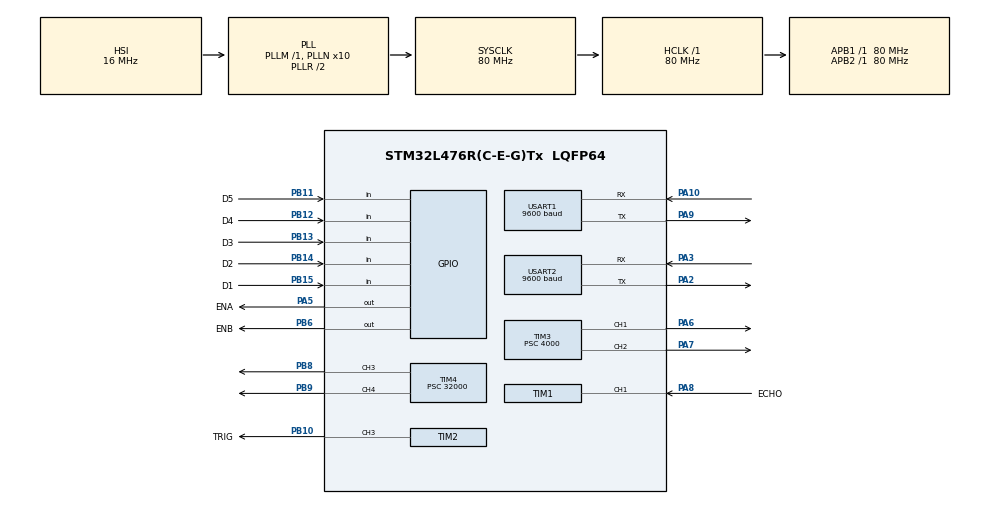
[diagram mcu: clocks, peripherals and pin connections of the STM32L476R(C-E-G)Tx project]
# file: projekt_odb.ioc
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Mcu.Family=STM32L4
Mcu.Name=STM32L476R(C-E-G)Tx
Mcu.Package=LQFP64
NVIC.PriorityGroup=NVIC_PRIORITYGROUP_4
NVIC.TIM1_CC_IRQn=true\:0\:0\:false\:false\:true\:true\:true\:true
PA10.Mode=Asynchronous
PA10.Signal=USART1_RX
PA2.Mode=Asynchronous
PA2.Signal=USART2_TX
PA3.Mode=Asynchronous
PA3.Signal=USART2_RX
PA5.GPIO_Label=ENA
PA5.Signal=GPIO_Output
PA6.Signal=S_TIM3_CH1
PA7.Signal=S_TIM3_CH2
PA8.GPIO_Label=ECHO
PA8.Signal=S_TIM1_CH1
PA9.Mode=Asynchronous
PA9.Signal=USART1_TX
PB10.GPIO_Label=TRIG
PB10.Signal=S_TIM2_CH3
PB11.GPIO_Label=D5
PB11.Signal=GPIO_Input
PB12.GPIO_Label=D4
PB12.Signal=GPIO_Input
PB13.GPIO_Label=D3
PB13.Signal=GPIO_Input
PB14.GPIO_Label=D2
PB14.Signal=GPIO_Input
PB15.GPIO_Label=D1
PB15.Signal=GPIO_Input
PB6.GPIO_Label=ENB
PB6.Signal=GPIO_Output
PB8.Signal=S_TIM4_CH3
PB9.Signal=S_TIM4_CH4
ProjectManager.HeapSize=0x200
ProjectManager.StackSize=0x400
ProjectManager.TargetToolchain=STM32CubeIDE
RCC.ADCFreq_Value=64000000
RCC.AHBFreq_Value=80000000
RCC.APB1Freq_Value=80000000
RCC.APB1TimFreq_Value=80000000
RCC.APB2Freq_Value=80000000
RCC.APB2TimFreq_Value=80000000
RCC.CortexFreq_Value=80000000
RCC.HCLKFreq_Value=80000000
RCC.HSE_VALUE=8000000
RCC.HSI_VALUE=16000000
RCC.LSE_VALUE=32768
RCC.MSI_VALUE=4000000
RCC.PLLN=10
RCC.PLLSourceVirtual=RCC_PLLSOURCE_HSI
RCC.SYSCLKFreq_VALUE=80000000
RCC.SYSCLKSource=RCC_SYSCLKSOURCE_PLLCLK
RCC.USBFreq_Value=64000000
RCC.VCOOutputFreq_Value=160000000
SH.S_TIM1_CH1.0=TIM1_CH1,PWM_Input_1
SH.S_TIM2_CH3.0=TIM2_CH3,PWM Generation3 CH3
SH.S_TIM3_CH1.0=TIM3_CH1,PWM Generation1 CH1
SH.S_TIM3_CH2.0=TIM3_CH2,PWM Generation2 CH2
SH.S_TIM4_CH3.0=TIM4_CH3,PWM Generation3 CH3
SH.S_TIM4_CH4.0=TIM4_CH4,PWM Generation4 CH4
TIM1.Prescaler=79
TIM2.Channel-PWM\ Generation3\ CH3=TIM_CHANNEL_3
TIM2.Period=62499
TIM2.Prescaler=79
TIM3.Channel-PWM\ Generation1\ CH1=TIM_CHANNEL_1
TIM3.Channel-PWM\ Generation2\ CH2=TIM_CHANNEL_2
TIM3.Period=499
TIM3.Prescaler=4000
TIM4.Channel-PWM\ Generation3\ CH3=TIM_CHANNEL_3
TIM4.Channel-PWM\ Generation4\ CH4=TIM_CHANNEL_4
TIM4.Period=10
TIM4.Prescaler=32000
USART1.BaudRate=9600
USART1.VirtualMode-Asynchronous=VM_ASYNC
USART2.BaudRate=9600
USART2.VirtualMode-Asynchronous=VM_ASYNC
VP_TIM1_VS_ClockSourceINT.Mode=Internal
VP_TIM3_VS_ClockSourceINT.Mode=Internal
VP_TIM4_VS_ClockSourceINT.Mode=Internal
board=custom

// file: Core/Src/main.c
/* USER CODE BEGIN Header */
/**
  ******************************************************************************
  * @file           : main.c
  * @brief          : Main program body
  ******************************************************************************
  * @attention
  *
  * Copyright (c) 2024 STMicroelectronics.
  * All rights reserved.
  *
  * This software is licensed under terms that can be found in the LICENSE file
  * in the root directory of this software component.
  * If no LICENSE file comes with this software, it is provided AS-IS.
  *
  ******************************************************************************
  */
/* USER CODE END Header */
#include "main.h"
#include "tim.h"

UART_HandleTypeDef huart1;
UART_HandleTypeDef huart2;

uint16_t silniki[4] = {0};

/* USER CODE BEGIN PV */
struct us_sensor_str distance_sensor;
/* USER CODE END PV */

void SystemClock_Config(void);
static void MX_GPIO_Init(void);
static void MX_USART1_UART_Init(void);
static void MX_USART2_UART_Init(void);

int main(void)
{

  /* MCU Configuration--------------------------------------------------------*/

  /* Reset of all peripherals, Initializes the Flash interface and the Systick. */
  HAL_Init();

  /* Configure the system clock */
  SystemClock_Config();

  /* Initialize all configured peripherals */
  MX_GPIO_Init();
  MX_TIM1_Init();
  MX_TIM2_Init();
  MX_TIM3_Init();
  MX_TIM4_Init();
  MX_USART1_UART_Init();
  MX_USART2_UART_Init();
  /* USER CODE BEGIN 2 */
  hc_sr04_init(&distance_sensor, &htim1, &htim2, TIM_CHANNEL_3);

  HAL_TIM_PWM_Start(&htim3, TIM_CHANNEL_1);
      HAL_TIM_PWM_Start(&htim3, TIM_CHANNEL_2);
      HAL_TIM_PWM_Start(&htim4, TIM_CHANNEL_3);
      HAL_TIM_PWM_Start(&htim4, TIM_CHANNEL_4);

      __HAL_TIM_SetCompare(&htim3, TIM_CHANNEL_1, 0);
      __HAL_TIM_SetCompare(&htim3, TIM_CHANNEL_2, 0);
      __HAL_TIM_SetCompare(&htim4, TIM_CHANNEL_3, 0);
      __HAL_TIM_SetCompare(&htim4, TIM_CHANNEL_4, 0);

      HAL_GPIO_WritePin(ENA_GPIO_Port, ENA_Pin, GPIO_PIN_SET);
      HAL_GPIO_WritePin(ENB_GPIO_Port, ENB_Pin, GPIO_PIN_SET);
  /* USER CODE END 2 */

  /* Infinite loop */
  /* USER CODE BEGIN WHILE */
      uint8_t stan_init[5] = {0};
      uint8_t stan[5] = {0};
      char message[100] = {0};
      uint8_t D1, D2, D3, D4, D5 = 0;
      	  wyjscie:
      	 stan_init[0] = 0;
      	 stan[0] = 0;
      	 // Odczyt trybu pracy	b -- bluetooth, l -- Jazda po linii, o -- czujnik odbiciowy
      	 while(stan_init[0] != 'b' && stan_init[0] != 'l' && stan_init[0] != 'o') {
      		HAL_UART_Receive(&huart1, stan_init, 5, 100);
      	 }
            while (1) {
			// Ustawienie czujników listwy z czujnikami odbiciowymi
            D1 = HAL_GPIO_ReadPin(D1_GPIO_Port, D1_Pin);
            D2 = HAL_GPIO_ReadPin(D2_GPIO_Port, D2_Pin);
            D3 = HAL_GPIO_ReadPin(D3_GPIO_Port, D3_Pin);
            D4 = HAL_GPIO_ReadPin(D4_GPIO_Port, D4_Pin);
            D5 = HAL_GPIO_ReadPin(D5_GPIO_Port, D5_Pin);

            //Ustawienie sterowania pojazdem na bluetooth
            if (stan_init[0] == 'b') {
            	 HAL_UART_Receive(&huart1, stan, 5, 0);
            	 // Jazda do przodu
            	if (stan[0]=='w') {
					__HAL_TIM_SetCompare(&htim3, TIM_CHANNEL_1, 0);
					__HAL_TIM_SetCompare(&htim3, TIM_CHANNEL_2, 500);
					__HAL_TIM_SetCompare(&htim4, TIM_CHANNEL_3, 0);
					__HAL_TIM_SetCompare(&htim4, TIM_CHANNEL_4, 500);
				}
            	// Jazda do tyłu
				if (stan[0]=='s') {
					__HAL_TIM_SetCompare(&htim3, TIM_CHANNEL_1, 500);
					__HAL_TIM_SetCompare(&htim3, TIM_CHANNEL_2, 0);
					__HAL_TIM_SetCompare(&htim4, TIM_CHANNEL_3, 500);
					__HAL_TIM_SetCompare(&htim4, TIM_CHANNEL_4, 0);
				}
				// Skręt w lewo
				if (stan[0]=='a') {
					__HAL_TIM_SetCompare(&htim3, TIM_CHANNEL_1, 0);
					__HAL_TIM_SetCompare(&htim3, TIM_CHANNEL_2, 0);
					__HAL_TIM_SetCompare(&htim4, TIM_CHANNEL_3, 0);
					__HAL_TIM_SetCompare(&htim4, TIM_CHANNEL_4, 500);
				}
				// Skręt w prawo
				if (stan[0]=='d') {
					__HAL_TIM_SetCompare(&htim3, TIM_CHANNEL_1, 0);
					__HAL_TIM_SetCompare(&htim3, TIM_CHANNEL_2, 500);
					__HAL_TIM_SetCompare(&htim4, TIM_CHANNEL_3, 0);
					__HAL_TIM_SetCompare(&htim4, TIM_CHANNEL_4, 0);
				}
				// Zatrzymaj się
				if (stan[0]=='x') {
					__HAL_TIM_SetCompare(&htim3, TIM_CHANNEL_1, 0);
					__HAL_TIM_SetCompare(&htim3, TIM_CHANNEL_2, 0);
					__HAL_TIM_SetCompare(&htim4, TIM_CHANNEL_3, 0);
					__HAL_TIM_SetCompare(&htim4, TIM_CHANNEL_4, 0);
				}
				// Wyjście z trybu
				if (stan[0]=='e') {
					__HAL_TIM_SetCompare(&htim3, TIM_CHANNEL_1, 0);
					__HAL_TIM_SetCompare(&htim3, TIM_CHANNEL_2, 0);
					__HAL_TIM_SetCompare(&htim4, TIM_CHANNEL_3, 0);
					__HAL_TIM_SetCompare(&htim4, TIM_CHANNEL_4, 0);
					goto wyjscie;
				}
            }

            //Ustawienie sterowania pojazdem z czujnikiem odbiciowym
            	if (stan_init[0]=='o'){
            		HAL_UART_Receive(&huart1, stan, 5, 0);
            		if (stan[0]=='e') {
            			__HAL_TIM_SetCompare(&htim3, TIM_CHANNEL_1, 0);
						__HAL_TIM_SetCompare(&htim3, TIM_CHANNEL_2, 0);
						__HAL_TIM_SetCompare(&htim4, TIM_CHANNEL_3, 0);
						__HAL_TIM_SetCompare(&htim4, TIM_CHANNEL_4, 0);
						goto wyjscie;
					}
            		if(distance_sensor.distance_cm<=10){
            			// Gdy dystans do przeszkoday mniejszy niż 10 cm to pojazd cofa
						__HAL_TIM_SetCompare(&htim3, TIM_CHANNEL_1, 400);
						__HAL_TIM_SetCompare(&htim3, TIM_CHANNEL_2, 0);
						__HAL_TIM_SetCompare(&htim4, TIM_CHANNEL_3, 400);
						__HAL_TIM_SetCompare(&htim4, TIM_CHANNEL_4, 0);
					} else if(distance_sensor.distance_cm<=40){
						// Gdy dystans do przeszkoday mniejszy niż 40 cm to pojazd skęreca w lewo
            			__HAL_TIM_SetCompare(&htim3, TIM_CHANNEL_1, 0);
            			__HAL_TIM_SetCompare(&htim3, TIM_CHANNEL_2, 0);
            			__HAL_TIM_SetCompare(&htim4, TIM_CHANNEL_3, 0);
            			__HAL_TIM_SetCompare(&htim4, TIM_CHANNEL_4, 400);
            		} else if(distance_sensor.distance_cm<=70){
            			// Gdy dystans do przeszkoday mniejszy niż 70 cm to pojazd delikatnie skręca w lewo
						__HAL_TIM_SetCompare(&htim3, TIM_CHANNEL_1, 0);
						__HAL_TIM_SetCompare(&htim3, TIM_CHANNEL_2, 300);
						__HAL_TIM_SetCompare(&htim4, TIM_CHANNEL_3, 0);
						__HAL_TIM_SetCompare(&htim4, TIM_CHANNEL_4, 400);
					}  else {
						// Jazda do przodu gdy inne warunki nie sa spełnione
            			__HAL_TIM_SetCompare(&htim3, TIM_CHANNEL_1, 0);
            			__HAL_TIM_SetCompare(&htim3, TIM_CHANNEL_2, 400);
            			__HAL_TIM_SetCompare(&htim4, TIM_CHANNEL_3, 0);
            			__HAL_TIM_SetCompare(&htim4, TIM_CHANNEL_4, 400);
            		}

            	}
            	//Ustawienie sterowania pojazdem po linii
            	if(stan_init[0]=='l') {
            		HAL_UART_Receive(&huart1, stan, 5, 0);
            		if (stan[0]=='e') {\
            			__HAL_TIM_SetCompare(&htim3, TIM_CHANNEL_1, 0);
						__HAL_TIM_SetCompare(&htim3, TIM_CHANNEL_2, 0);
						__HAL_TIM_SetCompare(&htim4, TIM_CHANNEL_3, 0);
						__HAL_TIM_SetCompare(&htim4, TIM_CHANNEL_4, 0);
						goto wyjscie;
					}
					D1 = HAL_GPIO_ReadPin(D1_GPIO_Port, D1_Pin);
					D2 = HAL_GPIO_ReadPin(D2_GPIO_Port, D2_Pin);
					D3 = HAL_GPIO_ReadPin(D3_GPIO_Port, D3_Pin);
					D4 = HAL_GPIO_ReadPin(D4_GPIO_Port, D4_Pin);
					D5 = HAL_GPIO_ReadPin(D5_GPIO_Port, D5_Pin);

            /*snprintf(message, sizeof(message), " %d %d %d %d %d", D1, D2, D3, D4, D5);
                        HAL_UART_Transmit(&huart2, message, 100, 100);
                      	HAL_UART_Transmit(&huart1, message, 100, 100);*/
			  if (D2==1 && D3==1 && D4==1 || D2==1 && D3==1 || D3 == 1 && D4==1 || D3 == 1) {
				__HAL_TIM_SetCompare(&htim4, TIM_CHANNEL_3, 0);
				__HAL_TIM_SetCompare(&htim4, TIM_CHANNEL_4, 500);
				__HAL_TIM_SetCompare(&htim3, TIM_CHANNEL_1, 0);
				__HAL_TIM_SetCompare(&htim3, TIM_CHANNEL_2, 500);
				silniki[0] = 0;
				silniki[1] = 500;
				silniki[2] = 0;
				silniki[3] = 500;
			  }
			  else if (D1==1 && D2==1 && D3==1 && D4 == 1 || D1==1 && D2==1 && D3==1 || D1==1 && D2==1 || D1 == 1) {
				__HAL_TIM_SetCompare(&htim4, TIM_CHANNEL_3, 0);
				__HAL_TIM_SetCompare(&htim4, TIM_CHANNEL_4, 500);
				__HAL_TIM_SetCompare(&htim3, TIM_CHANNEL_1, 0);
				__HAL_TIM_SetCompare(&htim3, TIM_CHANNEL_2, 0);
				silniki[0] = 0;
				silniki[1] = 500;
				silniki[2] = 0;
				silniki[3] = 0;
			  }
			  else if (D2==1 && D3==1 && D4==1 && D5==1 || D3==1 && D4==1 && D5==1 || D4==1 && D5==1 || D5 == 1) {
				__HAL_TIM_SetCompare(&htim4, TIM_CHANNEL_3, 0);
				__HAL_TIM_SetCompare(&htim4, TIM_CHANNEL_4, 0);
				__HAL_TIM_SetCompare(&htim3, TIM_CHANNEL_1, 0);
				__HAL_TIM_SetCompare(&htim3, TIM_CHANNEL_2, 500);
				silniki[0] = 0;
				silniki[1] = 0;
				silniki[2] = 0;
				silniki[3] = 500;
			  }
			  else {
				__HAL_TIM_SetCompare(&htim4, TIM_CHANNEL_3, silniki[0]);
				__HAL_TIM_SetCompare(&htim4, TIM_CHANNEL_4, silniki[1]);
				__HAL_TIM_SetCompare(&htim3, TIM_CHANNEL_1, silniki[2]);
				__HAL_TIM_SetCompare(&htim3, TIM_CHANNEL_2, silniki[3]);
			  }

}

}

  /* USER CODE END 3 */
}

void SystemClock_Config(void)
{
  RCC_OscInitTypeDef RCC_OscInitStruct = {0};
  RCC_ClkInitTypeDef RCC_ClkInitStruct = {0};

  /** Configure the main internal regulator output voltage
  */
  if (HAL_PWREx_ControlVoltageScaling(PWR_REGULATOR_VOLTAGE_SCALE1) != HAL_OK)
  {
    Error_Handler();
  }

  /** Initializes the RCC Oscillators according to the specified parameters
  * in the RCC_OscInitTypeDef structure.
  */
  RCC_OscInitStruct.OscillatorType = RCC_OSCILLATORTYPE_HSI;
  RCC_OscInitStruct.HSIState = RCC_HSI_ON;
  RCC_OscInitStruct.HSICalibrationValue = RCC_HSICALIBRATION_DEFAULT;
  RCC_OscInitStruct.PLL.PLLState = RCC_PLL_ON;
  RCC_OscInitStruct.PLL.PLLSource = RCC_PLLSOURCE_HSI;
  RCC_OscInitStruct.PLL.PLLM = 1;
  RCC_OscInitStruct.PLL.PLLN = 10;
  RCC_OscInitStruct.PLL.PLLP = RCC_PLLP_DIV7;
  RCC_OscInitStruct.PLL.PLLQ = RCC_PLLQ_DIV2;
  RCC_OscInitStruct.PLL.PLLR = RCC_PLLR_DIV2;
  if (HAL_RCC_OscConfig(&RCC_OscInitStruct) != HAL_OK)
  {
    Error_Handler();
  }

  /** Initializes the CPU, AHB and APB buses clocks
  */
  RCC_ClkInitStruct.ClockType = RCC_CLOCKTYPE_HCLK|RCC_CLOCKTYPE_SYSCLK
                              |RCC_CLOCKTYPE_PCLK1|RCC_CLOCKTYPE_PCLK2;
  RCC_ClkInitStruct.SYSCLKSource = RCC_SYSCLKSOURCE_PLLCLK;
  RCC_ClkInitStruct.AHBCLKDivider = RCC_SYSCLK_DIV1;
  RCC_ClkInitStruct.APB1CLKDivider = RCC_HCLK_DIV1;
  RCC_ClkInitStruct.APB2CLKDivider = RCC_HCLK_DIV1;

  if (HAL_RCC_ClockConfig(&RCC_ClkInitStruct, FLASH_LATENCY_4) != HAL_OK)
  {
    Error_Handler();
  }
}

static void MX_GPIO_Init(void)
{
  GPIO_InitTypeDef GPIO_InitStruct = {0};

  /* GPIO Ports Clock Enable */
  __HAL_RCC_GPIOA_CLK_ENABLE();
  __HAL_RCC_GPIOB_CLK_ENABLE();

  /*Configure GPIO pin Output Level */
  HAL_GPIO_WritePin(ENA_GPIO_Port, ENA_Pin, GPIO_PIN_RESET);

  /*Configure GPIO pin Output Level */
  HAL_GPIO_WritePin(ENB_GPIO_Port, ENB_Pin, GPIO_PIN_RESET);

  /*Configure GPIO pin : ENA_Pin */
  GPIO_InitStruct.Pin = ENA_Pin;
  GPIO_InitStruct.Mode = GPIO_MODE_OUTPUT_PP;
  GPIO_InitStruct.Pull = GPIO_NOPULL;
  GPIO_InitStruct.Speed = GPIO_SPEED_FREQ_LOW;
  HAL_GPIO_Init(ENA_GPIO_Port, &GPIO_InitStruct);

  GPIO_InitStruct.Pin = D5_Pin|D4_Pin|D3_Pin|D2_Pin
                          |D1_Pin;
  GPIO_InitStruct.Mode = GPIO_MODE_INPUT;
  GPIO_InitStruct.Pull = GPIO_NOPULL;
  HAL_GPIO_Init(GPIOB, &GPIO_InitStruct);

  /*Configure GPIO pin : ENB_Pin */
  GPIO_InitStruct.Pin = ENB_Pin;
  GPIO_InitStruct.Mode = GPIO_MODE_OUTPUT_PP;
  GPIO_InitStruct.Pull = GPIO_NOPULL;
  GPIO_InitStruct.Speed = GPIO_SPEED_FREQ_LOW;
  HAL_GPIO_Init(ENB_GPIO_Port, &GPIO_InitStruct);

}

static void MX_USART1_UART_Init(void)
{

  huart1.Instance = USART1;
  huart1.Init.BaudRate = 9600;
  huart1.Init.WordLength = UART_WORDLENGTH_8B;
  huart1.Init.StopBits = UART_STOPBITS_1;
  huart1.Init.Parity = UART_PARITY_NONE;
  huart1.Init.Mode = UART_MODE_TX_RX;
  huart1.Init.HwFlowCtl = UART_HWCONTROL_NONE;
  huart1.Init.OverSampling = UART_OVERSAMPLING_16;
  huart1.Init.OneBitSampling = UART_ONE_BIT_SAMPLE_DISABLE;
  huart1.AdvancedInit.AdvFeatureInit = UART_ADVFEATURE_NO_INIT;
  if (HAL_UART_Init(&huart1) != HAL_OK)
  {
    Error_Handler();
  }

}

static void MX_USART2_UART_Init(void)
{

  huart2.Instance = USART2;
  huart2.Init.BaudRate = 9600;
  huart2.Init.WordLength = UART_WORDLENGTH_8B;
  huart2.Init.StopBits = UART_STOPBITS_1;
  huart2.Init.Parity = UART_PARITY_NONE;
  huart2.Init.Mode = UART_MODE_TX_RX;
  huart2.Init.HwFlowCtl = UART_HWCONTROL_NONE;
  huart2.Init.OverSampling = UART_OVERSAMPLING_16;
  huart2.Init.OneBitSampling = UART_ONE_BIT_SAMPLE_DISABLE;
  huart2.AdvancedInit.AdvFeatureInit = UART_ADVFEATURE_NO_INIT;
  if (HAL_UART_Init(&huart2) != HAL_OK)
  {
    Error_Handler();
  }

}

/* USER CODE BEGIN 4 */
void HAL_TIM_IC_CaptureCallback(TIM_HandleTypeDef *htim)
{
	if(TIM1 == htim->Instance)
	{
		uint32_t echo_us;

		echo_us = HAL_TIM_ReadCapturedValue(htim, TIM_CHANNEL_2);
		distance_sensor.distance_cm = hc_sr04_convert_us_to_cm(echo_us);
	}
}
/* USER CODE END 4 */

void Error_Handler(void)
{
  __disable_irq();
  while (1)
  {
  }
}
